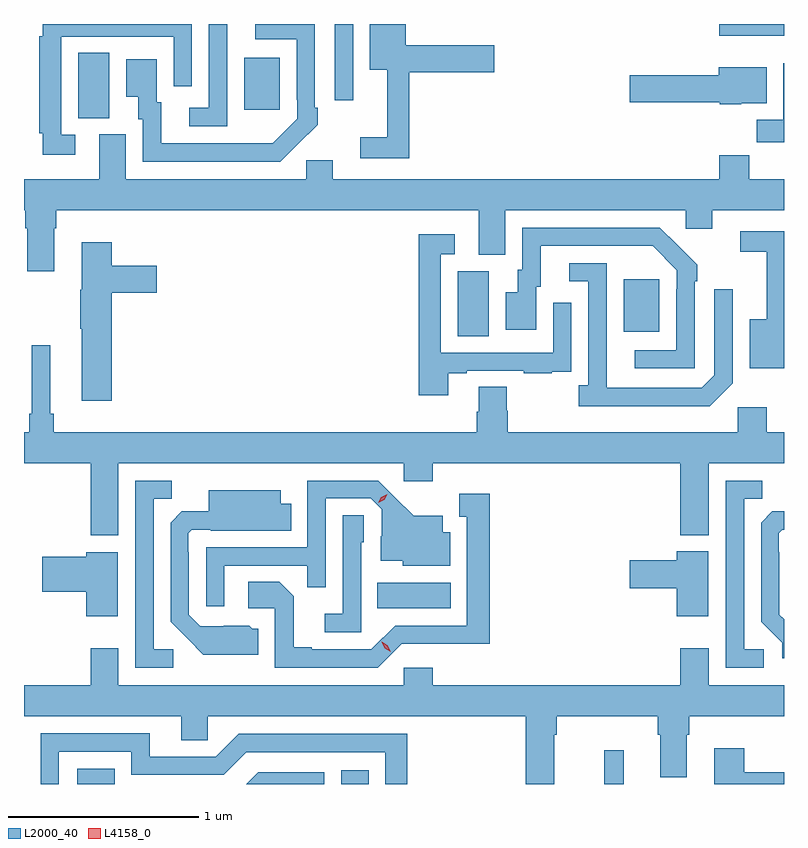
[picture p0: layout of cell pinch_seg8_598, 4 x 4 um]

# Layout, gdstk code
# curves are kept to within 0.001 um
import gdstk
lib = gdstk.Library(unit=1e-6, precision=1e-09)
def R(c, l, rs):  # rectangles x0, y0, x1, y1
    for r in rs: c.add(gdstk.rectangle(r[:2], r[2:], *l))
def P(c, l, *ps):  # polygons
    for p in ps: c.add(gdstk.Polygon(p, *l))
L2000_40 = (2000, 40)
L4158_0 = (4158, 0)

pinch_seg8_598 = lib.new_cell('pinch_seg8_598')
R(pinch_seg8_598, L2000_40, [(153.549,1098.828,153.747,1098.907), (154.938,1098.828,155.084,1098.901), (156.322,1098.828,156.425,1099.006), (155.128,1099.754,155.515,1099.888), (155.552,1101.184,155.716,1101.528), (156.425,1101.209,156.613,1101.484), (153.554,1102.333,153.718,1102.676), (154.427,1102.377,154.615,1102.651), (154.905,1102.428,155.001,1102.828), (156.929,1102.766,157.269,1102.828)])
P(pinch_seg8_598, L2000_40, [(155.297,1102.574),(155.743,1102.574),(155.743,1102.716),(155.278,1102.716),(155.278,1102.828),(155.09,1102.828),(155.09,1102.586),(155.18,1102.586),(155.18,1102.231),(155.04,1102.231),(155.04,1102.122),(155.297,1102.122)],
  [(153.538,1102.245),(153.465,1102.245),(153.465,1102.761),(154.056,1102.761),(154.056,1102.5),(154.152,1102.5),(154.152,1102.754),(154.151,1102.754),(154.151,1102.828),(153.368,1102.828),(153.368,1102.764),(153.349,1102.764),(153.349,1102.252),(153.368,1102.252),(153.368,1102.14),(153.538,1102.14)],
  [(154.709,1102.195),(154.71,1102.194),(154.815,1102.299),(154.815,1102.387),(154.8,1102.387),(154.8,1102.828),(154.485,1102.828),(154.485,1102.749),(154.704,1102.749),(154.704,1102.429),(154.707,1102.429),(154.707,1102.329),(154.579,1102.201),(153.991,1102.2),(153.991,1102.416),(153.967,1102.416),(153.967,1102.642),(153.806,1102.642),(153.806,1102.445),(153.869,1102.445),(153.869,1102.326),(153.894,1102.326),(153.894,1102.104),(154.618,1102.104)],
  [(154.338,1102.747),(154.339,1102.747),(154.339,1102.828),(154.242,1102.828),(154.242,1102.386),(154.14,1102.386),(154.14,1102.29),(154.338,1102.29)],
  [(157.269,1102.621),(157.265,1102.621),(157.265,1102.324),(157.126,1102.324),(157.126,1102.206),(157.269,1102.206)],
  [(157.044,1102.412),(157.177,1102.412),(157.177,1102.6),(156.926,1102.6),(156.926,1102.559),(156.456,1102.559),(156.456,1102.417),(156.93,1102.417),(156.93,1102.406),(157.044,1102.406)],
  [(153.427,1101.752),(153.44,1101.752),(153.44,1101.848),(155.663,1101.848),(155.663,1101.613),(155.803,1101.613),(155.803,1101.848),(156.753,1101.848),(156.753,1101.75),(156.892,1101.75),(156.892,1101.848),(157.269,1101.848),(157.269,1102.012),(157.085,1102.012),(157.085,1102.136),(156.929,1102.136),(156.929,1102.012),(154.894,1102.012),(154.894,1102.11),(154.755,1102.11),(154.755,1102.012),(153.805,1102.012),(153.805,1102.248),(153.665,1102.248),(153.665,1102.012),(153.269,1102.012),(153.269,1101.848),(153.275,1101.848),(153.275,1101.752),(153.287,1101.752),(153.287,1101.528),(153.427,1101.528)],
  [(156.798,1101.473),(156.813,1101.473),(156.813,1101.561),(156.616,1101.756),(155.892,1101.756),(155.892,1101.534),(155.867,1101.534),(155.867,1101.415),(155.804,1101.415),(155.804,1101.219),(155.965,1101.219),(155.965,1101.444),(155.989,1101.444),(155.989,1101.66),(156.577,1101.66),(156.705,1101.531),(156.705,1101.431),(156.702,1101.431),(156.702,1101.111),(156.483,1101.111),(156.483,1101.015),(156.798,1101.015)],
  [(157.269,1101.738),(157.038,1101.738),(157.038,1101.63),(157.178,1101.63),(157.178,1101.274),(157.088,1101.274),(157.088,1101.017),(157.269,1101.017)],
  [(155.503,1100.991),(155.599,1100.991),(155.599,1101.003),(155.899,1101.003),(155.899,1100.991),(156.047,1100.991),(156.047,1100.997),(156.149,1100.997),(156.149,1101.106),(156.15,1101.106),(156.15,1101.361),(156.054,1101.361),(156.054,1101.099),(155.463,1101.099),(155.463,1101.615),(155.536,1101.615),(155.536,1101.721),(155.347,1101.721),(155.347,1100.874),(155.503,1100.874)],
  [(153.731,1101.413),(153.967,1101.413),(153.967,1101.555),(153.731,1101.555),(153.731,1101.679),(153.572,1101.679),(153.572,1101.429),(153.565,1101.429),(153.565,1101.223),(153.572,1101.223),(153.572,1100.844),(153.731,1100.844)],
  [(156.999,1100.937),(156.999,1101.433),(156.903,1101.433),(156.903,1100.979),(156.837,1100.913),(156.337,1100.913),(156.336,1101.57),(156.138,1101.57),(156.138,1101.474),(156.24,1101.474),(156.24,1100.926),(156.189,1100.926),(156.189,1100.816),(156.878,1100.816)],
  [(153.766,1100.516),(155.268,1100.516),(155.268,1100.421),(155.42,1100.421),(155.42,1100.516),(156.722,1100.516),(156.722,1100.138),(156.874,1100.138),(156.874,1100.516),(157.269,1100.516),(157.269,1100.68),(157.178,1100.68),(157.178,1100.812),(157.026,1100.812),(157.026,1100.68),(155.816,1100.68),(155.816,1100.793),(155.811,1100.793),(155.811,1100.918),(155.663,1100.918),(155.663,1100.786),(155.651,1100.786),(155.651,1100.68),(153.425,1100.68),(153.425,1100.776),(153.406,1100.776),(153.406,1101.136),(153.309,1101.136),(153.309,1100.776),(153.296,1100.776),(153.296,1100.68),(153.269,1100.68),(153.269,1100.516),(153.619,1100.516),(153.619,1100.136),(153.766,1100.136)],
  [(157.162,1099.536),(157.059,1099.536),(157.059,1100.329),(157.155,1100.329),(157.155,1100.424),(156.963,1100.424),(156.963,1099.44),(157.162,1099.44)],
  [(154.323,1099.977),(154.759,1099.977),(154.759,1099.864),(154.857,1099.864),(154.857,1100.331),(155.094,1100.331),(155.151,1100.274),(155.151,1100.132),(155.147,1100.132),(155.147,1100.003),(155.262,1100.003),(155.262,1099.976),(155.512,1099.976),(155.512,1100.152),(155.473,1100.152),(155.473,1100.239),(155.321,1100.239),(155.134,1100.424),(154.761,1100.424),(154.761,1100.073),(154.227,1100.073),(154.227,1099.764),(154.323,1099.764)],
  [(154.054,1099.536),(153.951,1099.536),(153.951,1100.329),(154.047,1100.329),(154.047,1100.424),(153.855,1100.424),(153.855,1099.44),(154.054,1099.44)],
  [(154.501,1099.644),(154.47,1099.644),(154.454,1099.66),(154.197,1099.659),(154.137,1099.719),(154.137,1100.048),(154.134,1100.048),(154.134,1100.148),(154.152,1100.166),(154.252,1100.166),(154.252,1100.162),(154.676,1100.162),(154.676,1100.302),(154.621,1100.302),(154.621,1100.374),(154.241,1100.374),(154.241,1100.263),(154.1,1100.263),(154.041,1100.204),(154.041,1099.682),(154.213,1099.508),(154.501,1099.508)],
  [(155.256,1099.566),(155.719,1099.565),(155.719,1100.356),(155.561,1100.356),(155.561,1100.235),(155.6,1100.235),(155.6,1099.662),(155.223,1099.662),(155.097,1099.536),(154.783,1099.536),(154.783,1099.549),(154.689,1099.549),(154.689,1099.816),(154.613,1099.892),(154.449,1099.892),(154.449,1099.752),(154.59,1099.752),(154.59,1099.44),(155.13,1099.44)],
  [(157.269,1099.695),(157.245,1099.719),(157.245,1100.048),(157.242,1100.048),(157.242,1100.148),(157.26,1100.166),(157.269,1100.166),(157.269,1100.263),(157.208,1100.263),(157.149,1100.204),(157.149,1099.682),(157.259,1099.572),(157.259,1099.49),(157.269,1099.49)],
  [(155.043,1100.1),(155.058,1100.1),(155.058,1100.243),(154.947,1100.243),(154.947,1099.723),(154.851,1099.723),(154.851,1099.626),(155.043,1099.626)],
  [(156.871,1100.053),(156.704,1100.053),(156.704,1100.006),(156.456,1100.006),(156.456,1099.859),(156.704,1099.859),(156.704,1099.71),(156.871,1099.71)],
  [(153.763,1100.047),(153.596,1100.047),(153.596,1100.024),(153.366,1100.024),(153.366,1099.841),(153.596,1099.841),(153.596,1099.71),(153.763,1099.71)],
  [(155.268,1099.441),(155.268,1099.348),(153.766,1099.348),(153.766,1099.543),(153.619,1099.543),(153.619,1099.348),(153.269,1099.348),(153.269,1099.184),(154.097,1099.184),(154.097,1099.057),(154.236,1099.057),(154.236,1099.184),(155.909,1099.184),(155.909,1098.828),(156.061,1098.828),(156.061,1099.088),(156.074,1099.088),(156.074,1099.184),(156.605,1099.184),(156.605,1099.088),(156.617,1099.088),(156.617,1098.864),(156.757,1098.864),(156.757,1099.088),(156.77,1099.088),(156.77,1099.184),(157.269,1099.184),(157.269,1099.348),(156.874,1099.348),(156.874,1099.543),(156.722,1099.543),(156.722,1099.348),(155.42,1099.348),(155.42,1099.441)],
  [(153.453,1098.999),(153.834,1098.999),(153.834,1098.876),(154.32,1098.876),(154.44,1098.996),(155.169,1098.996),(155.169,1098.828),(155.285,1098.828),(155.285,1099.092),(154.398,1099.092),(154.278,1098.972),(153.931,1098.972),(153.931,1099.095),(153.357,1099.095),(153.357,1098.828),(153.453,1098.828)],
  [(157.269,1098.891),(157.061,1098.891),(157.061,1099.015),(156.902,1099.015),(156.902,1098.828),(157.269,1098.828)],
  [(154.848,1098.891),(154.502,1098.891),(154.439,1098.828),(154.848,1098.828)])
P(pinch_seg8_598, L4158_0, [(155.199,1099.524),(155.168,1099.543),(155.151,1099.576),(155.151,1099.576),(155.151,1099.576),(155.182,1099.557),(155.199,1099.524),(155.199,1099.524)],
  [(155.133,1100.309),(155.133,1100.309),(155.15,1100.338),(155.181,1100.354),(155.181,1100.354),(155.181,1100.353),(155.164,1100.324),(155.133,1100.309)])

lib.write_gds('pinch_seg8_598.gds')
